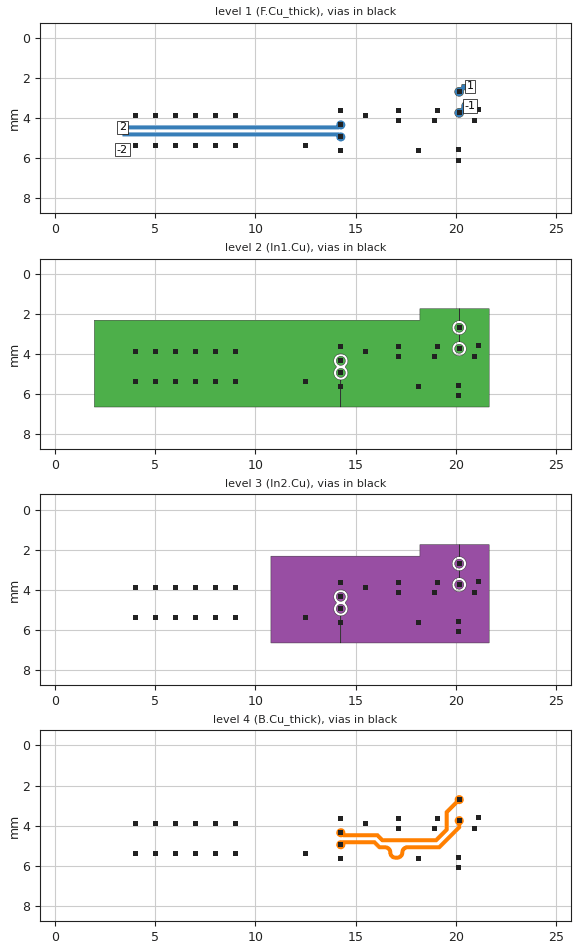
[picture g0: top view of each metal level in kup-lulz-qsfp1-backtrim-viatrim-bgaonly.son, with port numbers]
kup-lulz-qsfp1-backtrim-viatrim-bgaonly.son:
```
FTYP SONPROJ 19 ! Sonnet Project File
VER 18.56
HEADER
LIC antikernel2.1.61468
DAT 03/17/2024 00:21:20
BUILT_BY_CREATED dxf 18.56 03/15/2024 05:41:27
BUILT_BY_SAVED sonnet 18.56
MDATE 03/17/2024 00:21:20
HDATE 03/17/2024 00:21:20
ANN Created by dxfgeo, Sonnet Software Inc.
END HEADER
DIM
ANG DEG
CAP PF
CON /OH
FREQ GHZ
IND NH
LNG MM
RES OH
END DIM
CONTROL
VARSWP
OPTIONS  -dj
SPEED 1
CACHE_ABS 2
Q_ACC N
END CONTROL
GEO
TMET "Free Space" 0 FREESPACE 376.7303136 0 0 0
BMET "Free Space" 0 FREESPACE 376.7303136 0 0 0
MET "Copper_1oz+plated_thick_up" 1 TMM 58000000 0.5 0.0432 2
MET "Copper_1oz+plated_thin" 4 NOR 58000000 0.5 0.0432 
MET "Copper_0.5oz_thin" 2 NOR 58000000 0.5 0.0175 
MET "Copper_1oz+plated_thick_down" 3 TMM 58000000 0.5 0.0432 2 CDVY TDWN
BOX 6 25 8 2000 640 20 0
      10 1 1 0 0 0 0 "Air"
      0.05 3.5 1 0.02 0 0 0 "Soldermask"
      0.2021 3.61 1 0.0092 0 0 0 "Isola_FR408HR"
      1.1938 3.61 1 0.0092 0 0 0 "Isola_FR408HR"
      0.2021 3.61 1 0.0092 0 0 0 "Isola_FR408HR"
      0.05 3.5 1 0.02 0 0 0 "Soldermask"
      10 1 1 0 0 0 0 "Air"
TECHLAY METAL F.Cu_thick L1D0 -1 -65534 CAD F.Cu drawing 
1 0 0 N 2228 1 1 100 100 0 0 0 Y
END
END
TECHLAY VIA Via1 L5D0 -7 -65534 CAD Via1 drawing 
VIA POLYGON
1 0 -1 N 2271 1 1 100 100 0 0 0 Y
TOLEVEL 4 RING NOCOVERS
END
END
TECHLAY METAL F.Cu_thin <UNSPECIFIED> -2 -65534 CAD F.Cu_thin drawing 
1 0 1 N 2240 1 1 100 100 0 0 0 Y
END
END
TECHLAY METAL In1.Cu L2D0 -3 -65534 CAD In1.Cu drawing 
2 0 2 N 2243 1 1 100 100 0 0 0 Y
END
END
TECHLAY METAL In2.Cu L3D0 -4 -65534 CAD In2.Cu drawing 
3 0 2 N 2246 1 1 100 100 0 0 0 Y
END
END
TECHLAY METAL B.Cu_thick L4D0 -5 -65534 CAD B.Cu drawing 
4 0 3 N 2249 1 1 100 100 0 0 0 Y
END
END
TECHLAY METAL B.Cu_thin <UNSPECIFIED> -6 -65534 CAD B.Cu_thin drawing 
4 0 1 N 2251 1 1 100 100 0 0 0 Y
END
END
LORGN 0 8 U 
POR1 CUP Auto
GNDREF AUTO
TERMW FEED
POLY 2073 1
35
1 100 0 0 0 20.7 2.42075 
CUPGRP "Auto" LOCAL
ID 2267
END
POR1 CUP Auto
GNDREF AUTO
TERMW FEED
POLY 2074 1
33
-1 100 0 0 0 20.7 3.399 
CUPGRP "Auto" LOCAL
ID 2268
END
POR1 CUP Auto
GNDREF AUTO
TERMW FEED
POLY 2212 1
49
2 100 0 0 0 3.375 4.474 
CUPGRP "Auto" LOCAL
ID 2269
END
POR1 CUP Auto
GNDREF AUTO
TERMW FEED
POLY 2213 1
40
-2 100 0 0 0 3.375 4.824 
CUPGRP "Auto" LOCAL
ID 2270
END
NUM 46
1 81 0 N 2073 1 1 100 100 0 0 0 Y
TLAYNAM F.Cu_thick INH
20.191 2.922
20.213 2.917
20.234 2.911
20.254 2.902
20.274 2.892
20.292 2.88
20.309 2.866
20.325 2.85
20.339 2.833
20.351 2.815
20.361 2.795
20.37 2.775
20.376 2.754
20.381 2.732
20.383 2.71
20.383 2.688
20.381 2.666
20.376 2.644
20.371 2.627
20.401 2.597
20.412 2.602
20.432 2.611
20.453 2.617
20.475 2.622
20.497 2.624
20.519 2.624
20.541 2.622
20.563 2.617
20.584 2.611
20.604 2.602
20.624 2.592
20.642 2.58
20.659 2.566
20.675 2.55
20.689 2.533
20.7 2.5165
20.7 2.325
20.29542857 2.325
20.29 2.344
20.285 2.366
20.283 2.388
20.283 2.41
20.285 2.431
20.23 2.486
20.213 2.481
20.191 2.476
20.169 2.474
20.147 2.474
20.125 2.476
20.103 2.481
20.082 2.487
20.062 2.496
20.042 2.506
20.024 2.518
20.007 2.532
19.991 2.548
19.977 2.565
19.965 2.583
19.955 2.603
19.946 2.623
19.94 2.644
19.935 2.666
19.933 2.688
19.933 2.71
19.935 2.732
19.94 2.754
19.946 2.775
19.955 2.795
19.965 2.815
19.977 2.833
19.991 2.85
20.007 2.866
20.024 2.88
20.042 2.892
20.062 2.902
20.082 2.911
20.103 2.917
20.125 2.922
20.147 2.924
20.169 2.924
20.191 2.922
END
1 103 0 N 2074 1 1 100 100 0 0 0 Y
TLAYNAM F.Cu_thick INH
20.191 3.972
20.213 3.967
20.234 3.961
20.254 3.952
20.274 3.942
20.292 3.93
20.309 3.916
20.325 3.9
20.339 3.883
20.351 3.865
20.361 3.845
20.37 3.825
20.376 3.804
20.381 3.782
20.383 3.76
20.383 3.738
20.381 3.716
20.376 3.694
20.371 3.677
20.436 3.612
20.453 3.617
20.475 3.622
20.497 3.624
20.519 3.624
20.541 3.622
20.563 3.617
20.584 3.611
20.604 3.602
20.624 3.592
20.642 3.58
20.659 3.566
20.675 3.55
20.689 3.533
20.7 3.5165
20.7 3.2815
20.689 3.265
20.675 3.248
20.659 3.232
20.642 3.218
20.624 3.206
20.604 3.196
20.584 3.187
20.563 3.181
20.541 3.176
20.519 3.174
20.497 3.174
20.475 3.176
20.453 3.181
20.432 3.187
20.412 3.196
20.392 3.206
20.374 3.218
20.357 3.232
20.341 3.248
20.327 3.265
20.315 3.283
20.305 3.303
20.296 3.323
20.29 3.344
20.285 3.366
20.283 3.388
20.283 3.41
20.285 3.432
20.29 3.454
20.295 3.471
20.23 3.536
20.213 3.531
20.191 3.526
20.169 3.524
20.147 3.524
20.125 3.526
20.103 3.531
20.082 3.537
20.062 3.546
20.042 3.556
20.024 3.568
20.007 3.582
19.991 3.598
19.977 3.615
19.965 3.633
19.955 3.653
19.946 3.673
19.94 3.694
19.935 3.716
19.933 3.738
19.933 3.76
19.935 3.782
19.94 3.804
19.946 3.825
19.955 3.845
19.965 3.865
19.977 3.883
19.991 3.9
20.007 3.916
20.024 3.93
20.042 3.942
20.062 3.952
20.082 3.961
20.103 3.967
20.125 3.972
20.147 3.974
20.169 3.974
20.191 3.972
END
1 62 0 N 2212 1 1 100 100 0 0 0 Y
TLAYNAM F.Cu_thick INH
14.291 4.572
14.313 4.567
14.334 4.561
14.354 4.552
14.374 4.542
14.392 4.53
14.409 4.516
14.425 4.5
14.439 4.483
14.451 4.465
14.461 4.445
14.47 4.425
14.476 4.404
14.481 4.382
14.483 4.36
14.483 4.338
14.481 4.316
14.476 4.294
14.47 4.273
14.461 4.253
14.451 4.233
14.439 4.215
14.425 4.198
14.409 4.182
14.392 4.168
14.374 4.156
14.354 4.146
14.334 4.137
14.313 4.131
14.291 4.126
14.269 4.124
14.247 4.124
14.225 4.126
14.203 4.131
14.182 4.137
14.162 4.146
14.142 4.156
14.124 4.168
14.107 4.182
14.091 4.198
14.077 4.215
14.065 4.233
14.055 4.253
14.046 4.273
14.04 4.294
14.035 4.316
14.033 4.338
14.033 4.36
14.034 4.374
3.375 4.374
3.375 4.574
14.138 4.574
14.148 4.573
14.158 4.571
14.176 4.565
14.182 4.561
14.183 4.561
14.203 4.567
14.225 4.572
14.247 4.574
14.269 4.574
14.291 4.572
END
1 62 0 N 2213 1 1 100 100 0 0 0 Y
TLAYNAM F.Cu_thick INH
14.291 5.172
14.313 5.167
14.334 5.161
14.354 5.152
14.374 5.142
14.392 5.13
14.409 5.116
14.425 5.1
14.439 5.083
14.451 5.065
14.461 5.045
14.47 5.025
14.476 5.004
14.481 4.982
14.483 4.96
14.483 4.938
14.481 4.916
14.476 4.894
14.47 4.873
14.461 4.853
14.451 4.833
14.439 4.815
14.425 4.798
14.409 4.782
14.392 4.768
14.374 4.756
14.354 4.746
14.334 4.737
14.313 4.731
14.291 4.726
14.269 4.724
14.247 4.724
14.225 4.726
14.203 4.731
14.182 4.737
14.176 4.733
14.167 4.73
14.157 4.727
14.148 4.725
14.138 4.724
3.375 4.724
3.375 4.924
14.034 4.924
14.033 4.938
14.033 4.96
14.035 4.982
14.04 5.004
14.046 5.025
14.055 5.045
14.065 5.065
14.077 5.083
14.091 5.1
14.107 5.116
14.124 5.13
14.142 5.142
14.162 5.152
14.182 5.161
14.203 5.167
14.225 5.172
14.247 5.174
14.269 5.174
14.291 5.172
END
VIA POLYGON
1 5 -1 N 1304 1 1 100 100 0 0 0 Y
TOLEVEL 4 RING NOCOVERS
TLAYNAM Via1 INH
14.133 5.774
14.133 5.524
14.383 5.524
14.383 5.774
14.133 5.774
END
VIA POLYGON
1 5 -1 N 1309 1 1 100 100 0 0 0 Y
TOLEVEL 4 RING NOCOVERS
TLAYNAM Via1 INH
12.383 5.524
12.383 5.274
12.633 5.274
12.633 5.524
12.383 5.524
END
VIA POLYGON
1 5 -1 N 1310 1 1 100 100 0 0 0 Y
TOLEVEL 4 RING NOCOVERS
TLAYNAM Via1 INH
14.133 5.074
14.133 4.824
14.383 4.824
14.383 5.074
14.133 5.074
END
VIA POLYGON
1 5 -1 N 1317 1 1 100 100 0 0 0 Y
TOLEVEL 4 RING NOCOVERS
TLAYNAM Via1 INH
14.133 4.474
14.133 4.224
14.383 4.224
14.383 4.474
14.133 4.474
END
VIA POLYGON
1 5 -1 N 1321 1 1 100 100 0 0 0 Y
TOLEVEL 4 RING NOCOVERS
TLAYNAM Via1 INH
15.383 4.024
15.383 3.774
15.633 3.774
15.633 4.024
15.383 4.024
END
VIA POLYGON
1 5 -1 N 1324 1 1 100 100 0 0 0 Y
TOLEVEL 4 RING NOCOVERS
TLAYNAM Via1 INH
20.033 3.874
20.033 3.624
20.283 3.624
20.283 3.874
20.033 3.874
END
VIA POLYGON
1 5 -1 N 1328 1 1 100 100 0 0 0 Y
TOLEVEL 4 RING NOCOVERS
TLAYNAM Via1 INH
14.133 3.774
14.133 3.524
14.383 3.524
14.383 3.774
14.133 3.774
END
VIA POLYGON
1 5 -1 N 1339 1 1 100 100 0 0 0 Y
TOLEVEL 4 RING NOCOVERS
TLAYNAM Via1 INH
20.033 2.824
20.033 2.574
20.283 2.574
20.283 2.824
20.033 2.824
END
VIA POLYGON
1 5 -1 N 1376 1 1 100 100 0 0 0 Y
TOLEVEL 4 RING NOCOVERS
TLAYNAM Via1 INH
7.883 5.524
7.883 5.274
8.133 5.274
8.133 5.524
7.883 5.524
END
VIA POLYGON
1 5 -1 N 1377 1 1 100 100 0 0 0 Y
TOLEVEL 4 RING NOCOVERS
TLAYNAM Via1 INH
8.883 5.524
8.883 5.274
9.133 5.274
9.133 5.524
8.883 5.524
END
VIA POLYGON
1 5 -1 N 1389 1 1 100 100 0 0 0 Y
TOLEVEL 4 RING NOCOVERS
TLAYNAM Via1 INH
3.883 4.024
3.883 3.774
4.133 3.774
4.133 4.024
3.883 4.024
END
VIA POLYGON
1 5 -1 N 1390 1 1 100 100 0 0 0 Y
TOLEVEL 4 RING NOCOVERS
TLAYNAM Via1 INH
4.883 4.024
4.883 3.774
5.133 3.774
5.133 4.024
4.883 4.024
END
VIA POLYGON
1 5 -1 N 1391 1 1 100 100 0 0 0 Y
TOLEVEL 4 RING NOCOVERS
TLAYNAM Via1 INH
5.883 4.024
5.883 3.774
6.133 3.774
6.133 4.024
5.883 4.024
END
VIA POLYGON
1 5 -1 N 1392 1 1 100 100 0 0 0 Y
TOLEVEL 4 RING NOCOVERS
TLAYNAM Via1 INH
6.883 4.024
6.883 3.774
7.133 3.774
7.133 4.024
6.883 4.024
END
VIA POLYGON
1 5 -1 N 1393 1 1 100 100 0 0 0 Y
TOLEVEL 4 RING NOCOVERS
TLAYNAM Via1 INH
7.883 4.024
7.883 3.774
8.133 3.774
8.133 4.024
7.883 4.024
END
VIA POLYGON
1 5 -1 N 1399 1 1 100 100 0 0 0 Y
TOLEVEL 4 RING NOCOVERS
TLAYNAM Via1 INH
8.883 4.024
8.883 3.774
9.133 3.774
9.133 4.024
8.883 4.024
END
VIA POLYGON
1 5 -1 N 1404 1 1 100 100 0 0 0 Y
TOLEVEL 4 RING NOCOVERS
TLAYNAM Via1 INH
3.883 5.524
3.883 5.274
4.133 5.274
4.133 5.524
3.883 5.524
END
VIA POLYGON
1 5 -1 N 1405 1 1 100 100 0 0 0 Y
TOLEVEL 4 RING NOCOVERS
TLAYNAM Via1 INH
4.883 5.524
4.883 5.274
5.133 5.274
5.133 5.524
4.883 5.524
END
VIA POLYGON
1 5 -1 N 1406 1 1 100 100 0 0 0 Y
TOLEVEL 4 RING NOCOVERS
TLAYNAM Via1 INH
5.883 5.524
5.883 5.274
6.133 5.274
6.133 5.524
5.883 5.524
END
VIA POLYGON
1 5 -1 N 1408 1 1 100 100 0 0 0 Y
TOLEVEL 4 RING NOCOVERS
TLAYNAM Via1 INH
6.883 5.524
6.883 5.274
7.133 5.274
7.133 5.524
6.883 5.524
END
VIA POLYGON
1 5 -1 N 2178 1 1 100 100 0 0 0 Y
TOLEVEL 4 RING NOCOVERS
TLAYNAM Via1 INH
20.983 3.724
20.983 3.474
21.233 3.474
21.233 3.724
20.983 3.724
END
VIA POLYGON
1 5 -1 N 2179 1 1 100 100 0 0 0 Y
TOLEVEL 4 RING NOCOVERS
TLAYNAM Via1 INH
19.983 6.224
19.983 5.974
20.233 5.974
20.233 6.224
19.983 6.224
END
VIA POLYGON
1 5 -1 N 2180 1 1 100 100 0 0 0 Y
TOLEVEL 4 RING NOCOVERS
TLAYNAM Via1 INH
18.783 4.274
18.783 4.024
19.033 4.024
19.033 4.274
18.783 4.274
END
VIA POLYGON
1 5 -1 N 2181 1 1 100 100 0 0 0 Y
TOLEVEL 4 RING NOCOVERS
TLAYNAM Via1 INH
16.983 4.274
16.983 4.024
17.233 4.024
17.233 4.274
16.983 4.274
END
VIA POLYGON
1 5 -1 N 2182 1 1 100 100 0 0 0 Y
TOLEVEL 4 RING NOCOVERS
TLAYNAM Via1 INH
20.783 4.274
20.783 4.024
21.033 4.024
21.033 4.274
20.783 4.274
END
VIA POLYGON
1 5 -1 N 2183 1 1 100 100 0 0 0 Y
TOLEVEL 4 RING NOCOVERS
TLAYNAM Via1 INH
17.983 5.774
17.983 5.524
18.233 5.524
18.233 5.774
17.983 5.774
END
VIA POLYGON
1 5 -1 N 2184 1 1 100 100 0 0 0 Y
TOLEVEL 4 RING NOCOVERS
TLAYNAM Via1 INH
16.983 3.774
16.983 3.524
17.233 3.524
17.233 3.774
16.983 3.774
END
VIA POLYGON
1 5 -1 N 2185 1 1 100 100 0 0 0 Y
TOLEVEL 4 RING NOCOVERS
TLAYNAM Via1 INH
19.983 5.724
19.983 5.474
20.233 5.474
20.233 5.724
19.983 5.724
END
VIA POLYGON
1 5 -1 N 2186 1 1 100 100 0 0 0 Y
TOLEVEL 4 RING NOCOVERS
TLAYNAM Via1 INH
18.933 3.774
18.933 3.524
19.183 3.524
19.183 3.774
18.933 3.774
END
2 65 2 N 506 1 1 100 100 0 0 0 Y
TLAYNAM In1.Cu INH
14.247 5.174
14.225 5.172
14.203 5.167
14.182 5.161
14.162 5.152
14.142 5.142
14.124 5.13
14.107 5.116
14.091 5.1
14.077 5.083
14.065 5.065
14.055 5.045
14.046 5.025
14.04 5.004
14.035 4.982
14.033 4.96
14.033 4.938
14.035 4.916
14.04 4.894
14.046 4.873
14.055 4.853
14.065 4.833
14.077 4.815
14.091 4.798
14.107 4.782
14.124 4.768
14.142 4.756
14.162 4.746
14.182 4.737
14.203 4.731
14.225 4.726
14.247 4.724
14.269 4.724
14.291 4.726
14.313 4.731
14.334 4.737
14.354 4.746
14.374 4.756
14.392 4.768
14.409 4.782
14.425 4.798
14.439 4.815
14.451 4.833
14.461 4.853
14.47 4.873
14.476 4.894
14.481 4.916
14.483 4.938
14.483 4.96
14.481 4.982
14.476 5.004
14.47 5.025
14.461 5.045
14.451 5.065
14.439 5.083
14.425 5.1
14.409 5.116
14.392 5.13
14.374 5.142
14.354 5.152
14.334 5.161
14.313 5.167
14.291 5.172
14.269 5.174
14.247 5.174
END
2 65 2 N 512 1 1 100 100 0 0 0 Y
TLAYNAM In1.Cu INH
14.247 4.574
14.225 4.572
14.203 4.567
14.182 4.561
14.162 4.552
14.142 4.542
14.124 4.53
14.107 4.516
14.091 4.5
14.077 4.483
14.065 4.465
14.055 4.445
14.046 4.425
14.04 4.404
14.035 4.382
14.033 4.36
14.033 4.338
14.035 4.316
14.04 4.294
14.046 4.273
14.055 4.253
14.065 4.233
14.077 4.215
14.091 4.198
14.107 4.182
14.124 4.168
14.142 4.156
14.162 4.146
14.182 4.137
14.203 4.131
14.225 4.126
14.247 4.124
14.269 4.124
14.291 4.126
14.313 4.131
14.334 4.137
14.354 4.146
14.374 4.156
14.392 4.168
14.409 4.182
14.425 4.198
14.439 4.215
14.451 4.233
14.461 4.253
14.47 4.273
14.476 4.294
14.481 4.316
14.483 4.338
14.483 4.36
14.481 4.382
14.476 4.404
14.47 4.425
14.461 4.445
14.451 4.465
14.439 4.483
14.425 4.5
14.409 4.516
14.392 4.53
14.374 4.542
14.354 4.552
14.334 4.561
14.313 4.567
14.291 4.572
14.269 4.574
14.247 4.574
END
2 65 2 N 514 1 1 100 100 0 0 0 Y
TLAYNAM In1.Cu INH
20.147 3.974
20.125 3.972
20.103 3.967
20.082 3.961
20.062 3.952
20.042 3.942
20.024 3.93
20.007 3.916
19.991 3.9
19.977 3.883
19.965 3.865
19.955 3.845
19.946 3.825
19.94 3.804
19.935 3.782
19.933 3.76
19.933 3.738
19.935 3.716
19.94 3.694
19.946 3.673
19.955 3.653
19.965 3.633
19.977 3.615
19.991 3.598
20.007 3.582
20.024 3.568
20.042 3.556
20.062 3.546
20.082 3.537
20.103 3.531
20.125 3.526
20.147 3.524
20.169 3.524
20.191 3.526
20.213 3.531
20.234 3.537
20.254 3.546
20.274 3.556
20.292 3.568
20.309 3.582
20.325 3.598
20.339 3.615
20.351 3.633
20.361 3.653
20.37 3.673
20.376 3.694
20.381 3.716
20.383 3.738
20.383 3.76
20.381 3.782
20.376 3.804
20.37 3.825
20.361 3.845
20.351 3.865
20.339 3.883
20.325 3.9
20.309 3.916
20.292 3.93
20.274 3.942
20.254 3.952
20.234 3.961
20.213 3.967
20.191 3.972
20.169 3.974
20.147 3.974
END
2 65 2 N 523 1 1 100 100 0 0 0 Y
TLAYNAM In1.Cu INH
20.147 2.924
20.125 2.922
20.103 2.917
20.082 2.911
20.062 2.902
20.042 2.892
20.024 2.88
20.007 2.866
19.991 2.85
19.977 2.833
19.965 2.815
19.955 2.795
19.946 2.775
19.94 2.754
19.935 2.732
19.933 2.71
19.933 2.688
19.935 2.666
19.94 2.644
19.946 2.623
19.955 2.603
19.965 2.583
19.977 2.565
19.991 2.548
20.007 2.532
20.024 2.518
20.042 2.506
20.062 2.496
20.082 2.487
20.103 2.481
20.125 2.476
20.147 2.474
20.169 2.474
20.191 2.476
20.213 2.481
20.234 2.487
20.254 2.496
20.274 2.506
20.292 2.518
20.309 2.532
20.325 2.548
20.339 2.565
20.351 2.583
20.361 2.603
20.37 2.623
20.376 2.644
20.381 2.666
20.383 2.688
20.383 2.71
20.381 2.732
20.376 2.754
20.37 2.775
20.361 2.795
20.351 2.815
20.339 2.833
20.325 2.85
20.309 2.866
20.292 2.88
20.274 2.892
20.254 2.902
20.234 2.911
20.213 2.917
20.191 2.922
20.169 2.924
20.147 2.924
END
2 101 2 N 2214 1 1 100 100 0 0 0 Y
TLAYNAM In1.Cu INH
21.65 4.749
21.65 2.325
21.65 1.75
20.158 1.75
20.158 2.344
20.268 2.362
20.331 2.394
20.367 2.412
20.445 2.49
20.473 2.544
20.496 2.589
20.513 2.699
20.49909091 2.789
20.496 2.809
20.449 2.899
20.445 2.908
20.367 2.986
20.268 3.037
20.158 3.054
20.158 3.054
20.158 3.394
20.268 3.412
20.367 3.462
20.445 3.54
20.496 3.639
20.513 3.749
20.496 3.859
20.445 3.958
20.367 4.036
20.268 4.087
20.158 4.104
20.048 4.087
19.949 4.036
19.871 3.958
19.821 3.859
19.803 3.749
19.821 3.639
19.871 3.54
19.949 3.462
20.048 3.412
20.158 3.394
20.158 3.054
20.048 3.037
19.949 2.986
19.871 2.908
19.821 2.809
19.803 2.699
19.821 2.589
19.871 2.49
19.949 2.412
20.048 2.362
20.158 2.344
20.158 1.75
18.2 1.75
18.2 2.325
1.975 2.325
1.975 6.65
14.258 6.65
14.258 5.304
14.148 5.287
14.049 5.236
13.992 5.179
13.971 5.158
13.921 5.059
13.903 4.949
13.921 4.839
13.971 4.74
14.019 4.692
14.037 4.649
14.019 4.606
13.971 4.558
13.921 4.459
13.903 4.349
13.921 4.239
13.971 4.14
14.049 4.062
14.148 4.012
14.258 3.994
14.368 4.012
14.467 4.062
14.545 4.14
14.596 4.239
14.613 4.349
14.606 4.394
14.596 4.459
14.545 4.558
14.497 4.606
14.479 4.649
14.497 4.692
14.545 4.74
14.549 4.749
14.596 4.839
14.613 4.949
14.596 5.059
14.545 5.158
14.467 5.236
14.368 5.287
14.258 5.304
14.258 6.65
21.65 6.65
21.65 4.749
END
3 65 2 N 645 1 1 100 100 0 0 0 Y
TLAYNAM In2.Cu INH
14.247 5.174
14.225 5.172
14.203 5.167
14.182 5.161
14.162 5.152
14.142 5.142
14.124 5.13
14.107 5.116
14.091 5.1
14.077 5.083
14.065 5.065
14.055 5.045
14.046 5.025
14.04 5.004
14.035 4.982
14.033 4.96
14.033 4.938
14.035 4.916
14.04 4.894
14.046 4.873
14.055 4.853
14.065 4.833
14.077 4.815
14.091 4.798
14.107 4.782
14.124 4.768
14.142 4.756
14.162 4.746
14.182 4.737
14.203 4.731
14.225 4.726
14.247 4.724
14.269 4.724
14.291 4.726
14.313 4.731
14.334 4.737
14.354 4.746
14.374 4.756
14.392 4.768
14.409 4.782
14.425 4.798
14.439 4.815
14.451 4.833
14.461 4.853
14.47 4.873
14.476 4.894
14.481 4.916
14.483 4.938
14.483 4.96
14.481 4.982
14.476 5.004
14.47 5.025
14.461 5.045
14.451 5.065
14.439 5.083
14.425 5.1
14.409 5.116
14.392 5.13
14.374 5.142
14.354 5.152
14.334 5.161
14.313 5.167
14.291 5.172
14.269 5.174
14.247 5.174
END
3 65 2 N 651 1 1 100 100 0 0 0 Y
TLAYNAM In2.Cu INH
14.247 4.574
14.225 4.572
14.203 4.567
14.182 4.561
14.162 4.552
14.142 4.542
14.124 4.53
14.107 4.516
14.091 4.5
14.077 4.483
14.065 4.465
14.055 4.445
14.046 4.425
14.04 4.404
14.035 4.382
14.033 4.36
14.033 4.338
14.035 4.316
14.04 4.294
14.046 4.273
14.055 4.253
14.065 4.233
14.077 4.215
14.091 4.198
14.107 4.182
14.124 4.168
14.142 4.156
14.162 4.146
14.182 4.137
14.203 4.131
14.225 4.126
14.247 4.124
14.269 4.124
14.291 4.126
14.313 4.131
14.334 4.137
14.354 4.146
14.374 4.156
14.392 4.168
14.409 4.182
14.425 4.198
14.439 4.215
14.451 4.233
14.461 4.253
14.47 4.273
14.476 4.294
14.481 4.316
14.483 4.338
14.483 4.36
14.481 4.382
14.476 4.404
14.47 4.425
14.461 4.445
14.451 4.465
14.439 4.483
14.425 4.5
14.409 4.516
14.392 4.53
14.374 4.542
14.354 4.552
14.334 4.561
14.313 4.567
14.291 4.572
14.269 4.574
14.247 4.574
END
3 65 2 N 654 1 1 100 100 0 0 0 Y
TLAYNAM In2.Cu INH
20.147 3.974
20.125 3.972
20.103 3.967
20.082 3.961
20.062 3.952
20.042 3.942
20.024 3.93
20.007 3.916
19.991 3.9
19.977 3.883
19.965 3.865
19.955 3.845
19.946 3.825
19.94 3.804
19.935 3.782
19.933 3.76
19.933 3.738
19.935 3.716
19.94 3.694
19.946 3.673
19.955 3.653
19.965 3.633
19.977 3.615
19.991 3.598
20.007 3.582
20.024 3.568
20.042 3.556
20.062 3.546
20.082 3.537
20.103 3.531
20.125 3.526
20.147 3.524
20.169 3.524
20.191 3.526
20.213 3.531
20.234 3.537
20.254 3.546
20.274 3.556
20.292 3.568
20.309 3.582
20.325 3.598
20.339 3.615
20.351 3.633
20.361 3.653
20.37 3.673
20.376 3.694
20.381 3.716
20.383 3.738
20.383 3.76
20.381 3.782
20.376 3.804
20.37 3.825
20.361 3.845
20.351 3.865
20.339 3.883
20.325 3.9
20.309 3.916
20.292 3.93
20.274 3.942
20.254 3.952
20.234 3.961
20.213 3.967
20.191 3.972
20.169 3.974
20.147 3.974
END
3 65 2 N 662 1 1 100 100 0 0 0 Y
TLAYNAM In2.Cu INH
20.147 2.924
20.125 2.922
20.103 2.917
20.082 2.911
20.062 2.902
20.042 2.892
20.024 2.88
20.007 2.866
19.991 2.85
19.977 2.833
19.965 2.815
19.955 2.795
19.946 2.775
19.94 2.754
19.935 2.732
19.933 2.71
19.933 2.688
19.935 2.666
19.94 2.644
19.946 2.623
19.955 2.603
19.965 2.583
19.977 2.565
19.991 2.548
20.007 2.532
20.024 2.518
20.042 2.506
20.062 2.496
20.082 2.487
20.103 2.481
20.125 2.476
20.147 2.474
20.169 2.474
20.191 2.476
20.213 2.481
20.234 2.487
20.254 2.496
20.274 2.506
20.292 2.518
20.309 2.532
20.325 2.548
20.339 2.565
20.351 2.583
20.361 2.603
20.37 2.623
20.376 2.644
20.381 2.666
20.383 2.688
20.383 2.71
20.381 2.732
20.376 2.754
20.37 2.775
20.361 2.795
20.351 2.815
20.339 2.833
20.325 2.85
20.309 2.866
20.292 2.88
20.274 2.892
20.254 2.902
20.234 2.911
20.213 2.917
20.191 2.922
20.169 2.924
20.147 2.924
END
3 109 2 N 2134 1 1 100 100 0 0 0 Y
TLAYNAM In2.Cu INH
21.65 6.65
21.65 5.85
21.65 4.749
21.65 2.325
21.65 1.75
20.158 1.75
20.158 2.344
20.268 2.362
20.367 2.412
20.445 2.49
20.473 2.544
20.496 2.589
20.513 2.699
20.49909091 2.789
20.49909091 2.789
20.496 2.809
20.449 2.899
20.445 2.908
20.367 2.986
20.268 3.037
20.158 3.054
20.158 3.054
20.158 3.394
20.158 3.394
20.268 3.412
20.367 3.462
20.445 3.54
20.496 3.639
20.513 3.749
20.496 3.859
20.445 3.958
20.367 4.036
20.268 4.087
20.158 4.104
20.118 4.097818182
20.048 4.087
19.949 4.036
19.871 3.958
19.821 3.859
19.803 3.749
19.821 3.639
19.871 3.54
19.949 3.462
20.048 3.412
20.158 3.394
20.158 3.054
20.048 3.037
19.949 2.986
19.871 2.908
19.821 2.809
19.803 2.699
19.821 2.589
19.871 2.49
19.949 2.412
20.048 2.362
20.158 2.344
20.158 1.75
18.2 1.75
18.2 2.325
16.7 2.325
16.7 2.325
10.775 2.325
10.775 6.65
14.258 6.65
14.258 5.304
14.148 5.287
14.049 5.236
13.992 5.179
13.971 5.158
13.921 5.059
13.903 4.949
13.921 4.839
13.971 4.74
14.019 4.692
14.037 4.649
14.019 4.606
13.971 4.558
13.921 4.459
13.903 4.349
13.921 4.239
13.971 4.14
14.049 4.062
14.148 4.012
14.258 3.994
14.368 4.012
14.467 4.062
14.545 4.14
14.596 4.239
14.613 4.349
14.606 4.394
14.596 4.459
14.545 4.558
14.497 4.606
14.479 4.649
14.497 4.692
14.545 4.74
14.549 4.749
14.596 4.839
14.613 4.949
14.596 5.059
14.545 5.158
14.467 5.236
14.368 5.287
14.258 5.304
14.258 6.65
20.55 6.65
20.55 6.65
21.65 6.65
21.65 6.65
END
4 397 3 N 839 1 1 100 100 0 0 0 Y
TLAYNAM B.Cu_thick INH
16.978 5.692
16.917 5.686
16.908 5.684
16.898 5.681
16.893 5.68
16.889 5.678
16.861 5.669
16.859 5.669
16.841 5.663
16.833 5.658
16.831 5.657
16.799 5.64
16.796 5.639
16.78 5.629
16.779 5.628
16.772 5.622
16.743 5.598
16.741 5.597
16.733 5.59
16.726 5.583
16.72 5.576
16.719 5.575
16.694 5.544
16.688 5.537
16.682 5.528
16.677 5.52
16.676 5.517
16.663 5.492
16.658 5.484
16.653 5.475
16.649 5.466
16.632 5.408
16.63 5.399
16.629 5.389
16.629 5.388
16.624 5.338
16.624 5.336
16.622 5.309
16.614 5.279
16.601 5.252
16.585 5.23
16.568 5.213
16.545 5.196
16.518 5.184
16.492 5.177
16.462 5.174
16.181 5.174
16.171 5.173
16.161 5.171
16.143 5.165
16.134 5.16
16.126 5.154
16.119 5.148
16.118 5.148
16.111 5.141
16.105 5.134
15.895 4.924
14.482 4.924
14.483 4.938
14.483 4.96
14.481 4.982
14.476 5.004
14.47 5.025
14.461 5.045
14.451 5.065
14.439 5.083
14.425 5.1
14.409 5.116
14.392 5.13
14.374 5.142
14.354 5.152
14.334 5.161
14.313 5.167
14.291 5.172
14.269 5.174
14.247 5.174
14.225 5.172
14.203 5.167
14.182 5.161
14.162 5.152
14.142 5.142
14.124 5.13
14.107 5.116
14.091 5.1
14.077 5.083
14.065 5.065
14.055 5.045
14.046 5.025
14.04 5.004
14.035 4.982
14.033 4.96
14.033 4.938
14.035 4.916
14.04 4.894
14.046 4.873
14.055 4.853
14.065 4.833
14.077 4.815
14.091 4.798
14.107 4.782
14.124 4.768
14.142 4.756
14.162 4.746
14.182 4.737
14.203 4.731
14.225 4.726
14.247 4.724
14.269 4.724
14.291 4.726
14.313 4.731
14.334 4.737
14.34 4.733
14.349 4.73
14.359 4.727
14.368 4.725
14.378 4.724
15.941 4.724
15.951 4.725
15.96 4.727
15.97 4.73
15.979 4.733
15.987 4.738
15.996 4.744
16.003 4.75
16.01 4.757
16.016 4.764
16.227 4.974
16.47 4.974
16.48 4.975
16.512 4.978
16.521 4.979
16.524 4.979
16.526 4.98
16.531 4.98
16.533 4.981
16.54 4.982
16.543 4.983
16.544 4.983
16.583 4.994
16.584 4.994
16.587 4.995
16.592 4.997
16.602 5.002
16.629 5.015
16.63 5.015
16.639 5.019
16.647 5.024
16.648 5.025
16.658 5.031
16.661 5.034
16.674 5.044
16.682 5.049
16.684 5.051
16.691 5.055
16.693 5.057
16.698 5.061
16.7 5.062
16.707 5.069
16.71 5.073
16.725 5.088
16.729 5.091
16.736 5.098
16.737 5.1
16.741 5.105
16.743 5.107
16.749 5.115
16.75 5.117
16.767 5.141
16.773 5.149
16.778 5.157
16.795 5.193
16.796 5.195
16.8 5.204
16.804 5.216
16.804 5.218
16.815 5.254
16.815 5.256
16.818 5.266
16.819 5.272
16.819 5.274
16.82 5.286
16.823 5.318
16.824 5.329
16.828 5.365
16.836 5.393
16.851 5.421
16.871 5.445
16.892 5.463
16.923 5.479
16.955 5.489
16.987 5.492
17.062 5.492
17.092 5.489
17.118 5.482
17.145 5.47
17.168 5.453
17.185 5.436
17.202 5.412
17.213 5.39
17.222 5.357
17.224 5.33
17.224 5.329
17.229 5.274
17.23 5.272
17.23 5.267
17.231 5.265
17.232 5.258
17.233 5.255
17.233 5.254
17.244 5.215
17.244 5.214
17.245 5.211
17.247 5.206
17.252 5.196
17.265 5.169
17.265 5.168
17.269 5.159
17.274 5.151
17.275 5.15
17.281 5.14
17.284 5.137
17.294 5.124
17.299 5.116
17.301 5.114
17.305 5.107
17.307 5.105
17.311 5.1
17.312 5.098
17.319 5.091
17.323 5.088
17.338 5.073
17.341 5.069
17.348 5.062
17.35 5.061
17.355 5.057
17.357 5.055
17.365 5.049
17.367 5.048
17.387 5.034
17.39 5.031
17.398 5.025
17.406 5.02
17.445 5.002
17.449 5
17.454 4.998
17.456 4.997
17.465 4.994
17.47 4.993
17.504 4.983
17.506 4.983
17.516 4.98
17.522 4.979
17.524 4.979
17.536 4.978
17.568 4.975
17.578 4.974
19.12 4.974
20.058 4.036
20.058 3.95
20.042 3.942
20.024 3.93
20.007 3.916
19.991 3.9
19.977 3.883
19.965 3.865
19.955 3.845
19.946 3.825
19.94 3.804
19.935 3.782
19.933 3.76
19.933 3.738
19.935 3.716
19.94 3.694
19.946 3.673
19.955 3.653
19.965 3.633
19.977 3.615
19.991 3.598
20.007 3.582
20.024 3.568
20.042 3.556
20.062 3.546
20.082 3.537
20.103 3.531
20.125 3.526
20.147 3.524
20.169 3.524
20.191 3.526
20.213 3.531
20.234 3.537
20.254 3.546
20.274 3.556
20.292 3.568
20.309 3.582
20.325 3.598
20.339 3.615
20.351 3.633
20.361 3.653
20.37 3.673
20.376 3.694
20.381 3.716
20.383 3.738
20.383 3.76
20.381 3.782
20.376 3.804
20.37 3.825
20.361 3.845
20.351 3.865
20.339 3.883
20.325 3.9
20.309 3.916
20.292 3.93
20.274 3.942
20.258 3.95
20.258 4.082
20.257 4.092
20.255 4.102
20.249 4.12
20.244 4.129
20.238 4.137
20.232 4.144
19.228 5.148
19.221 5.154
19.213 5.16
19.212 5.16
19.21 5.162
19.204 5.165
19.186 5.171
19.176 5.173
19.166 5.174
17.586 5.174
17.559 5.176
17.526 5.185
17.504 5.196
17.48 5.213
17.463 5.23
17.446 5.253
17.434 5.28
17.427 5.306
17.424 5.336
17.424 5.337
17.419 5.392
17.419 5.394
17.418 5.4
17.415 5.41
17.415 5.412
17.405 5.446
17.404 5.451
17.401 5.46
17.4 5.462
17.398 5.467
17.396 5.471
17.378 5.51
17.373 5.518
17.367 5.526
17.364 5.529
17.35 5.549
17.349 5.551
17.343 5.559
17.341 5.561
17.337 5.566
17.336 5.568
17.329 5.575
17.325 5.578
17.31 5.593
17.307 5.597
17.3 5.604
17.298 5.605
17.293 5.609
17.291 5.611
17.284 5.615
17.282 5.617
17.274 5.622
17.261 5.632
17.258 5.635
17.248 5.641
17.247 5.642
17.239 5.647
17.23 5.651
17.229 5.651
17.202 5.664
17.192 5.669
17.187 5.671
17.184 5.672
17.183 5.672
17.144 5.683
17.143 5.683
17.14 5.684
17.133 5.685
17.131 5.686
17.126 5.686
17.124 5.687
17.121 5.687
17.112 5.688
17.08 5.691
17.07 5.692
16.978 5.692
END
4 161 3 N 847 1 1 100 100 0 0 0 Y
TLAYNAM B.Cu_thick INH
16.325 4.824
16.315 4.823
16.306 4.821
16.296 4.818
16.287 4.815
16.279 4.81
16.27 4.804
16.263 4.798
16.039 4.574
14.378 4.574
14.368 4.573
14.359 4.571
14.349 4.568
14.34 4.565
14.334 4.561
14.313 4.567
14.291 4.572
14.269 4.574
14.247 4.574
14.225 4.572
14.203 4.567
14.182 4.561
14.162 4.552
14.142 4.542
14.124 4.53
14.107 4.516
14.091 4.5
14.077 4.483
14.065 4.465
14.055 4.445
14.046 4.425
14.04 4.404
14.035 4.382
14.033 4.36
14.033 4.338
14.035 4.316
14.04 4.294
14.046 4.273
14.055 4.253
14.065 4.233
14.077 4.215
14.091 4.198
14.107 4.182
14.124 4.168
14.142 4.156
14.162 4.146
14.182 4.137
14.203 4.131
14.225 4.126
14.247 4.124
14.269 4.124
14.291 4.126
14.313 4.131
14.334 4.137
14.354 4.146
14.374 4.156
14.392 4.168
14.409 4.182
14.425 4.198
14.439 4.215
14.451 4.233
14.461 4.253
14.47 4.273
14.476 4.294
14.481 4.316
14.483 4.338
14.483 4.36
14.482 4.374
16.085 4.374
16.095 4.375
16.105 4.377
16.123 4.383
16.132 4.388
16.14 4.394
16.147 4.4
16.148 4.4
16.155 4.407
16.161 4.414
16.371 4.624
18.964 4.624
19.433 4.155
19.433 3.319
19.434 3.309
19.436 3.3
19.439 3.29
19.442 3.281
19.447 3.273
19.453 3.264
19.459 3.257
19.945 2.771
19.94 2.754
19.935 2.732
19.933 2.71
19.933 2.688
19.935 2.666
19.94 2.644
19.946 2.623
19.955 2.603
19.965 2.583
19.977 2.565
19.991 2.548
20.007 2.532
20.024 2.518
20.042 2.506
20.062 2.496
20.082 2.487
20.103 2.481
20.125 2.476
20.147 2.474
20.169 2.474
20.191 2.476
20.213 2.481
20.234 2.487
20.254 2.496
20.274 2.506
20.292 2.518
20.309 2.532
20.325 2.548
20.339 2.565
20.351 2.583
20.361 2.603
20.37 2.623
20.376 2.644
20.381 2.666
20.383 2.688
20.383 2.71
20.381 2.732
20.376 2.754
20.37 2.775
20.361 2.795
20.351 2.815
20.339 2.833
20.325 2.85
20.309 2.866
20.292 2.88
20.274 2.892
20.254 2.902
20.234 2.911
20.213 2.917
20.191 2.922
20.169 2.924
20.147 2.924
20.125 2.922
20.103 2.917
20.086 2.912
19.633 3.365
19.633 4.201
19.632 4.211
19.628 4.229
19.624 4.239
19.614 4.255
19.607 4.263
19.072 4.798
19.065 4.804
19.056 4.81
19.048 4.815
19.039 4.818
19.029 4.821
19.02 4.823
19.01 4.824
16.325 4.824
END
4 4 3 N 2021 1 1 100 100 0 0 0 Y
TLAYNAM B.Cu_thick INH
21.65 2.325
21.63914653 2.325
21.65 2.335875
21.65 2.325
END
END GEO
OPT
MAX 100
END OPT
VARSWP
ENABLED Y
FREQ Y AN SWEEP 5.0 40.0 5.0
FREQ N AY ABS_ENTRY 0.1 40.0 -1 300 
END
END VARSWP
3DOPTIONS
GLOBAL 2
ALL 7 1
END 3DOPTIONS
```
